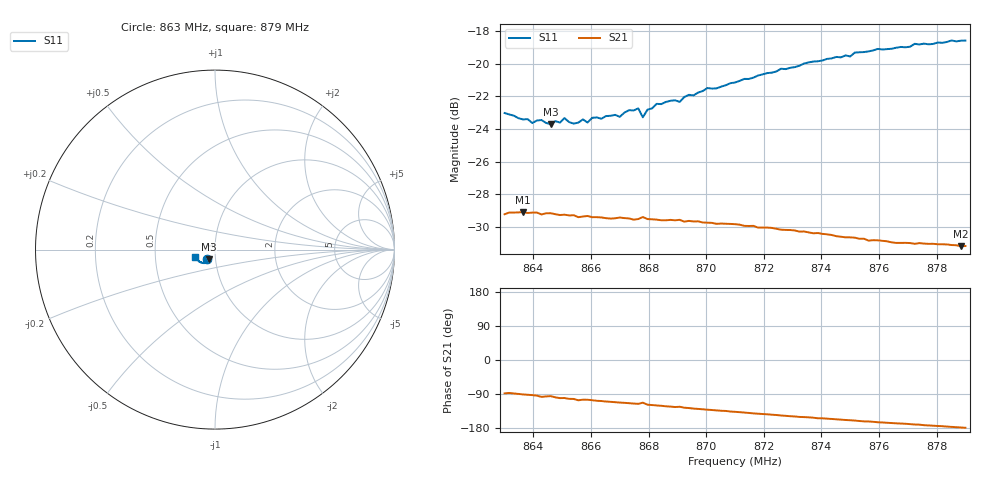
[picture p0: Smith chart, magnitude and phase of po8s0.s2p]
# HZ S RI R 50
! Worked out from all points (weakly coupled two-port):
!   101 points, 863 MHz to 879 MHz, reference 50 ohm
!   highest |S21| = -29.10 dB at 863.64 MHz (marker M1); lowest = -31.2 dB at 878.84 MHz (marker M2)
!   lowest |S11| = -23.7 dB at 864.6 MHz (marker M3), VSWR 1.14, Z = 46.3 - j5.09 ohm
!   |S11| at or under -10 dB: start of sweep to end of sweep
!   S12 and S22 are empty: the file has one direction only
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8.63e8  -0.0446 -0.0547  0.00118 -0.0345  0 0  0 0
8.6364e8  -0.0419 -0.0529  -0.000516 -0.0351  0 0  0 0
8.646e8  -0.0356 -0.0548  -0.00323 -0.0347  0 0  0 0
8.6492e8  -0.0375 -0.0543  -0.00632 -0.0338  0 0  0 0
8.6508e8  -0.038 -0.0565  -0.00617 -0.0339  0 0  0 0
8.654e8  -0.0353 -0.0552  -0.00758 -0.0335  0 0  0 0
8.6572e8  -0.035 -0.0577  -0.00859 -0.0329  0 0  0 0
8.6588e8  -0.0314 -0.0581  -0.00875 -0.033  0 0  0 0
8.6604e8  -0.0363 -0.0578  -0.00939 -0.0325  0 0  0 0
8.67e8  -0.0328 -0.0604  -0.0128 -0.0312  0 0  0 0
8.6764e8  -0.0353 -0.0638  -0.0145 -0.0301  0 0  0 0
8.678e8  -0.028 -0.0625  -0.013 -0.0313  0 0  0 0
8.6796e8  -0.0344 -0.0636  -0.0156 -0.0295  0 0  0 0
8.6844e8  -0.0359 -0.0661  -0.017 -0.0284  0 0  0 0
8.6908e8  -0.0376 -0.0665  -0.0183 -0.0277  0 0  0 0
8.6924e8  -0.038 -0.0693  -0.0192 -0.0266  0 0  0 0
8.7004e8  -0.043 -0.0724  -0.0214 -0.0245  0 0  0 0
8.71e8  -0.0479 -0.0733  -0.0235 -0.0221  0 0  0 0
8.7372e8  -0.0687 -0.0748  -0.0267 -0.0141  0 0  0 0
8.7644e8  -0.0929 -0.061  -0.0275 -0.00667  0 0  0 0
8.7884e8  -0.1102 -0.0411  -0.0276 -0.000907  0 0  0 0
8.79e8  -0.1112 -0.0389  -0.0276 -0.000577  0 0  0 0
